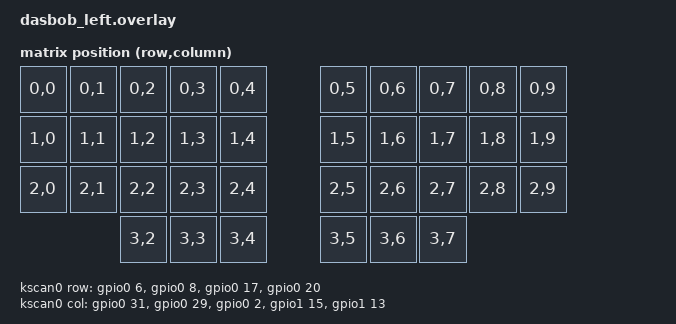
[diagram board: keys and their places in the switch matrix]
/*
 * Dasbob Left Half — nice!nano v2 clone, handwired
 *
 * Assumed pinout (controller at right of left half, facing up, USB at top):
 *
 *   ROWS — BAT- side (right column of nice!nano), first GPIO down from VCC:
 *     Row 0  top row      P0.06
 *     Row 1  middle row   P0.08
 *     Row 2  bottom row   P0.17
 *     Row 3  thumb row    P0.20
 *
 *   COLS — BAT+ side (left column of nice!nano), first GPIO down from VCC:
 *     Col 0  outermost    P0.31
 *     Col 1               P0.29
 *     Col 2               P0.02
 *     Col 3               P1.15
 *     Col 4  innermost    P1.13
 *
 *   Thumb keys assumed in row 3, cols 2/3/4 (inner three columns).
 *   If thumbs are wired to cols 0/1/2 or 1/2/3, update the transform map below.
 *
 *   Diode direction: col2row (cathode/stripe toward row wire — standard handwired).
 *   If every key fires on release instead of press, swap to "row2col".
 *   If a row fires all keys at once, row/col wires may be swapped — swap the
 *   row-gpios and col-gpios pin lists and toggle diode-direction.
 */

#include <dt-bindings/zmk/matrix_transform.h>

/ {
    chosen {
        zmk,kscan = &kscan0;
        zmk,matrix-transform = &default_transform;
    };

    /*
     * Full 36-key transform (left + right halves).
     * columns=10: left uses cols 0-4, right uses cols 5-9 (ZMK adds offset automatically).
     *
     * Right col 0 = innermost right key (nearest center split).
     * If your right half has the controller on the opposite side, reverse the
     * right-side rows in the map: swap RC(r,5)..RC(r,9) to RC(r,9)..RC(r,5).
     */
    default_transform: keymap_transform_0 {
        compatible = "zmk,matrix-transform";
        columns = <10>;
        rows = <4>;
        map = <
            RC(0,0) RC(0,1) RC(0,2) RC(0,3) RC(0,4)    RC(0,5) RC(0,6) RC(0,7) RC(0,8) RC(0,9)
            RC(1,0) RC(1,1) RC(1,2) RC(1,3) RC(1,4)    RC(1,5) RC(1,6) RC(1,7) RC(1,8) RC(1,9)
            RC(2,0) RC(2,1) RC(2,2) RC(2,3) RC(2,4)    RC(2,5) RC(2,6) RC(2,7) RC(2,8) RC(2,9)
                            RC(3,2) RC(3,3) RC(3,4)    RC(3,5) RC(3,6) RC(3,7)
        >;
    };

    kscan0: kscan {
        compatible = "zmk,kscan-gpio-matrix";
        wakeup-source;
        diode-direction = "col2row";

        row-gpios
            = <&gpio0 6  (GPIO_ACTIVE_HIGH | GPIO_PULL_DOWN)>  /* Row 0 — top row    */
            , <&gpio0 8  (GPIO_ACTIVE_HIGH | GPIO_PULL_DOWN)>  /* Row 1 — middle row */
            , <&gpio0 17 (GPIO_ACTIVE_HIGH | GPIO_PULL_DOWN)>  /* Row 2 — bottom row */
            , <&gpio0 20 (GPIO_ACTIVE_HIGH | GPIO_PULL_DOWN)>  /* Row 3 — thumb row  */
            ;

        col-gpios
            = <&gpio0 31 GPIO_ACTIVE_HIGH>  /* Col 0 — outermost */
            , <&gpio0 29 GPIO_ACTIVE_HIGH>  /* Col 1             */
            , <&gpio0 2  GPIO_ACTIVE_HIGH>  /* Col 2             */
            , <&gpio1 15 GPIO_ACTIVE_HIGH>  /* Col 3             */
            , <&gpio1 13 GPIO_ACTIVE_HIGH>  /* Col 4 — innermost */
            ;
    };
};
